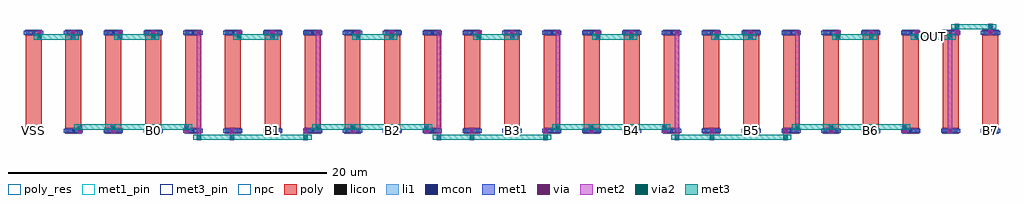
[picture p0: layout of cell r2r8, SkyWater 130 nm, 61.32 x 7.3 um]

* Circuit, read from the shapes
.subckt r2r8 B0 B1 B2 B3 B4 B5 B6 B7 OUT VSS
R1 n1 VSS sky130_fd_pr__res_generic_po w=1 l=6
R2 n1 n2 sky130_fd_pr__res_generic_po w=1 l=6
R3 n3 n2 sky130_fd_pr__res_generic_po w=1 l=6
R4 n3 B0 sky130_fd_pr__res_generic_po w=1 l=6
R5 n4 n2 sky130_fd_pr__res_generic_po w=1 l=6
R6 n5 n4 sky130_fd_pr__res_generic_po w=1 l=6
R7 n5 B1 sky130_fd_pr__res_generic_po w=1 l=6
R8 n6 n4 sky130_fd_pr__res_generic_po w=1 l=6
R9 n7 n6 sky130_fd_pr__res_generic_po w=1 l=6
R10 n7 B2 sky130_fd_pr__res_generic_po w=1 l=6
R11 n8 n6 sky130_fd_pr__res_generic_po w=1 l=6
R12 n9 n8 sky130_fd_pr__res_generic_po w=1 l=6
R13 n9 B3 sky130_fd_pr__res_generic_po w=1 l=6
R14 n10 n8 sky130_fd_pr__res_generic_po w=1 l=6
R15 n11 n10 sky130_fd_pr__res_generic_po w=1 l=6
R16 n11 B4 sky130_fd_pr__res_generic_po w=1 l=6
R17 n12 n10 sky130_fd_pr__res_generic_po w=1 l=6
R18 n13 n12 sky130_fd_pr__res_generic_po w=1 l=6
R19 n13 B5 sky130_fd_pr__res_generic_po w=1 l=6
R20 n14 n12 sky130_fd_pr__res_generic_po w=1 l=6
R21 n15 n14 sky130_fd_pr__res_generic_po w=1 l=6
R22 n15 B6 sky130_fd_pr__res_generic_po w=1 l=6
R23 OUT n14 sky130_fd_pr__res_generic_po w=1 l=6
R24 n16 OUT sky130_fd_pr__res_generic_po w=1 l=6
R25 n16 B7 sky130_fd_pr__res_generic_po w=1 l=6
.ends

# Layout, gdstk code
import gdstk
lib = gdstk.Library(unit=1e-6, precision=1e-09)
def R(c, l, rs):  # rectangles x0, y0, x1, y1
    for r in rs: c.add(gdstk.rectangle(r[:2], r[2:], *l))
def A(c, l, x, y, w, h, nx, ny, dx, dy):  # array of equal rectangles
    R(c, l, [(x+i*dx, y+j*dy, x+i*dx+w, y+j*dy+h) for i in range(nx) for j in range(ny)])
poly_res = (66, 13)
poly = (66, 20)
licon = (66, 44)
li1 = (67, 20)
mcon = (67, 44)
met1_pin = (68, 16)
met1 = (68, 20)
via = (68, 44)
met2 = (69, 20)
via2 = (69, 44)
met3_pin = (70, 16)
met3 = (70, 20)
npc = (95, 20)

r2r8 = lib.new_cell('r2r8')
A(r2r8, poly_res, 0, 3, 1, 6, 25, 1, 2.505, 0)
A(r2r8, poly, 0, 2.75, 1, 6.5, 25, 1, 2.505, 0)
A(r2r8, licon, 0.075, 2.83, 0.17, 0.17, 3, 2, 0.34, 6.17)
A(r2r8, licon, 2.58, 2.83, 0.17, 0.17, 3, 2, 0.34, 6.17)
A(r2r8, licon, 5.085, 2.83, 0.17, 0.17, 3, 2, 0.34, 6.17)
A(r2r8, licon, 7.59, 2.83, 0.17, 0.17, 3, 2, 0.34, 6.17)
A(r2r8, licon, 10.095, 2.83, 0.17, 0.17, 3, 2, 0.34, 6.17)
A(r2r8, licon, 12.6, 2.83, 0.17, 0.17, 3, 2, 0.34, 6.17)
A(r2r8, licon, 15.105, 2.83, 0.17, 0.17, 3, 2, 0.34, 6.17)
A(r2r8, licon, 17.61, 2.83, 0.17, 0.17, 3, 2, 0.34, 6.17)
A(r2r8, licon, 20.115, 2.83, 0.17, 0.17, 3, 2, 0.34, 6.17)
A(r2r8, licon, 22.62, 2.83, 0.17, 0.17, 3, 2, 0.34, 6.17)
A(r2r8, licon, 25.125, 2.83, 0.17, 0.17, 3, 2, 0.34, 6.17)
A(r2r8, licon, 27.63, 2.83, 0.17, 0.17, 3, 2, 0.34, 6.17)
A(r2r8, licon, 30.135, 2.83, 0.17, 0.17, 3, 2, 0.34, 6.17)
A(r2r8, licon, 32.64, 2.83, 0.17, 0.17, 3, 2, 0.34, 6.17)
A(r2r8, licon, 35.145, 2.83, 0.17, 0.17, 3, 2, 0.34, 6.17)
A(r2r8, licon, 37.65, 2.83, 0.17, 0.17, 3, 2, 0.34, 6.17)
A(r2r8, licon, 40.155, 2.83, 0.17, 0.17, 3, 2, 0.34, 6.17)
A(r2r8, licon, 42.66, 2.83, 0.17, 0.17, 3, 2, 0.34, 6.17)
A(r2r8, licon, 45.165, 2.83, 0.17, 0.17, 3, 2, 0.34, 6.17)
A(r2r8, licon, 47.67, 2.83, 0.17, 0.17, 3, 2, 0.34, 6.17)
A(r2r8, licon, 50.175, 2.83, 0.17, 0.17, 3, 2, 0.34, 6.17)
A(r2r8, licon, 52.68, 2.83, 0.17, 0.17, 3, 2, 0.34, 6.17)
A(r2r8, licon, 55.185, 2.83, 0.17, 0.17, 3, 2, 0.34, 6.17)
A(r2r8, licon, 57.69, 2.83, 0.17, 0.17, 3, 2, 0.34, 6.17)
A(r2r8, licon, 60.195, 2.83, 0.17, 0.17, 3, 2, 0.34, 6.17)
A(r2r8, li1, -0.005, 2.83, 1.01, 0.17, 25, 2, 2.505, 6.17)
A(r2r8, li1, 0.335, 2.83, 0.33, 0.17, 25, 2, 2.505, 6.17)
A(r2r8, mcon, 0.415, 2.83, 0.17, 0.17, 25, 2, 2.505, 6.17)
A(r2r8, met1_pin, -0.1, 2.785, 1.2, 0.26, 9, 1, 7.515, 0)
A(r2r8, met1, -0.1, 2.785, 1.2, 0.26, 4, 1, 2.505, 0)
A(r2r8, met1, 7.415, 2.785, 1.2, 0.26, 4, 1, 2.505, 0)
A(r2r8, met1, 14.93, 2.785, 1.2, 0.26, 4, 1, 2.505, 0)
A(r2r8, met1, 22.445, 2.785, 1.2, 0.26, 4, 1, 2.505, 0)
A(r2r8, met1, 29.96, 2.785, 1.2, 0.26, 4, 1, 2.505, 0)
A(r2r8, met1, 37.475, 2.785, 1.2, 0.26, 4, 1, 2.505, 0)
A(r2r8, met1, 44.99, 2.785, 1.2, 0.26, 4, 1, 2.505, 0)
A(r2r8, met1, 52.505, 2.785, 1.2, 0.26, 4, 1, 2.505, 0)
A(r2r8, met1, 0.315, 2.8, 0.37, 0.23, 25, 2, 2.505, 6.17)
A(r2r8, met1, -0.1, 8.955, 1.2, 0.26, 25, 1, 2.505, 0)
R(r2r8, met1, [(-0.1,2.785,1.1,3.045), (3.25,2.785,3.57,3.045), (5.34,2.785,5.66,3.045), (9.96,2.785,10.28,3.045), (12.82,2.785,13.14,3.045), (17.44,2.785,17.76,3.045), (20.41,2.785,20.73,3.045), (25.03,2.785,25.35,3.045), (27.89,2.785,28.21,3.045), (32.51,2.785,32.83,3.045), (35.37,2.785,35.69,3.045), (39.99,2.785,40.31,3.045), (42.96,2.785,43.28,3.045), (47.58,2.785,47.9,3.045), (50.44,2.785,50.76,3.045), (55.06,2.785,55.38,3.045), (57.92,2.785,58.24,3.045), (60.02,2.785,61.22,3.045), (0.72,8.955,1.04,9.215), (2.81,8.955,3.13,9.215), (5.78,8.955,6.1,9.215), (7.87,8.955,8.19,9.215), (10.73,8.955,11.05,9.215), (13.26,8.955,13.58,9.215), (15.35,8.955,15.67,9.215), (18.21,8.955,18.53,9.215), (20.74,8.955,21.06,9.215), (22.83,8.955,23.15,9.215), (25.8,8.955,26.12,9.215), (28.33,8.955,28.65,9.215), (30.42,8.955,30.74,9.215), (33.28,8.955,33.6,9.215), (35.81,8.955,36.13,9.215), (37.9,8.955,38.22,9.215), (40.76,8.955,41.08,9.215), (43.29,8.955,43.61,9.215), (45.38,8.955,45.7,9.215), (48.35,8.955,48.67,9.215), (50.88,8.955,51.2,9.215), (52.97,8.955,53.29,9.215), (55.83,8.955,56.15,9.215), (58.36,8.955,58.68,9.215), (60.45,8.955,60.77,9.215)])
R(r2r8, via, [(3.335,2.84,3.485,2.99), (5.425,2.84,5.575,2.99), (10.045,2.84,10.195,2.99), (12.905,2.84,13.055,2.99), (17.525,2.84,17.675,2.99), (20.495,2.84,20.645,2.99), (25.115,2.84,25.265,2.99), (27.975,2.84,28.125,2.99), (32.595,2.84,32.745,2.99), (35.455,2.84,35.605,2.99), (40.075,2.84,40.225,2.99), (43.045,2.84,43.195,2.99), (47.665,2.84,47.815,2.99), (50.525,2.84,50.675,2.99), (55.145,2.84,55.295,2.99), (58.005,2.84,58.155,2.99), (0.805,9.01,0.955,9.16), (2.895,9.01,3.045,9.16), (5.865,9.01,6.015,9.16), (7.955,9.01,8.105,9.16), (10.815,9.01,10.965,9.16), (13.345,9.01,13.495,9.16), (15.435,9.01,15.585,9.16), (18.295,9.01,18.445,9.16), (20.825,9.01,20.975,9.16), (22.915,9.01,23.065,9.16), (25.885,9.01,26.035,9.16), (28.415,9.01,28.565,9.16), (30.505,9.01,30.655,9.16), (33.365,9.01,33.515,9.16), (35.895,9.01,36.045,9.16), (37.985,9.01,38.135,9.16), (40.845,9.01,40.995,9.16), (43.375,9.01,43.525,9.16), (45.465,9.01,45.615,9.16), (48.435,9.01,48.585,9.16), (50.965,9.01,51.115,9.16), (53.055,9.01,53.205,9.16), (55.915,9.01,56.065,9.16), (58.445,9.01,58.595,9.16), (60.535,9.01,60.685,9.16)])
A(r2r8, met2, 18.23, 3.15, 0.28, 5.935, 3, 1, 15.07, 0)
R(r2r8, met2, [(10.75,2.335,11.03,2.705), (12.84,2.335,13.12,2.705), (17.46,2.335,17.74,2.705), (25.82,2.335,26.1,2.705), (27.91,2.335,28.19,2.705), (32.53,2.335,32.81,2.705), (40.78,2.335,41.06,2.705), (42.98,2.335,43.26,2.705), (47.6,2.335,47.88,2.705), (10.75,2.52,11.03,9.085), (12.84,2.52,13.12,2.915), (17.46,2.52,17.74,2.915), (25.82,2.52,26.1,9.085), (27.91,2.52,28.19,2.915), (32.53,2.52,32.81,2.915), (40.78,2.52,41.06,9.085), (42.98,2.52,43.26,2.915), (47.6,2.52,47.88,2.915), (3.28,2.755,3.54,3.075), (5.37,2.755,5.63,3.075), (9.99,2.755,10.25,3.075), (12.85,2.755,13.11,3.075), (17.47,2.755,17.73,3.075), (20.44,2.755,20.7,3.075), (25.06,2.755,25.32,3.075), (27.92,2.755,28.18,3.075), (32.54,2.755,32.8,3.075), (35.4,2.755,35.66,3.075), (40.02,2.755,40.28,3.075), (42.99,2.755,43.25,3.075), (47.61,2.755,47.87,3.075), (50.47,2.755,50.73,3.075), (55.09,2.755,55.35,3.075), (57.95,2.755,58.21,3.075), (3.27,2.915,3.55,3.15), (5.36,2.915,5.64,3.15), (9.98,2.915,10.26,3.15), (20.43,2.915,20.71,3.15), (25.05,2.915,25.33,3.15), (35.39,2.915,35.67,3.15), (40.01,2.915,40.29,3.15), (50.46,2.915,50.74,3.15), (55.08,2.915,55.36,3.15), (57.94,2.915,58.22,8.82), (3.27,2.965,3.55,3.335), (5.36,2.965,5.64,3.335), (9.98,2.965,10.26,3.335), (18.23,2.965,18.51,3.335), (20.43,2.965,20.71,3.335), (25.05,2.965,25.33,3.335), (33.3,2.965,33.58,3.335), (35.39,2.965,35.67,3.335), (40.01,2.965,40.29,3.335), (48.37,2.965,48.65,3.335), (50.46,2.965,50.74,3.335), (55.08,2.965,55.36,3.335), (0.74,8.635,1.02,9.005), (2.83,8.635,3.11,9.005), (5.8,8.635,6.08,9.005), (7.89,8.635,8.17,9.005), (13.28,8.635,13.56,9.005), (15.37,8.635,15.65,9.005), (20.76,8.635,21.04,9.005), (22.85,8.635,23.13,9.005), (28.35,8.635,28.63,9.005), (30.44,8.635,30.72,9.005), (35.83,8.635,36.11,9.005), (37.92,8.635,38.2,9.005), (43.31,8.635,43.59,9.005), (45.4,8.635,45.68,9.005), (50.9,8.635,51.18,9.005), (52.99,8.635,53.27,9.005), (55.85,8.635,56.13,9.005), (57.94,8.635,58.22,9.005), (0.74,8.82,1.02,9.085), (2.83,8.82,3.11,9.085), (5.8,8.82,6.08,9.085), (7.89,8.82,8.17,9.085), (13.28,8.82,13.56,9.085), (15.37,8.82,15.65,9.085), (20.76,8.82,21.04,9.085), (22.85,8.82,23.13,9.085), (28.35,8.82,28.63,9.085), (30.44,8.82,30.72,9.085), (35.83,8.82,36.11,9.085), (37.92,8.82,38.2,9.085), (43.31,8.82,43.59,9.085), (45.4,8.82,45.68,9.085), (50.9,8.82,51.18,9.085), (52.99,8.82,53.27,9.085), (55.85,8.82,56.13,9.085), (0.75,8.925,1.01,9.245), (2.84,8.925,3.1,9.245), (5.81,8.925,6.07,9.245), (7.9,8.925,8.16,9.245), (10.76,8.925,11.02,9.245), (13.29,8.925,13.55,9.245), (15.38,8.925,15.64,9.245), (18.24,8.925,18.5,9.245), (20.77,8.925,21.03,9.245), (22.86,8.925,23.12,9.245), (25.83,8.925,26.09,9.245), (28.36,8.925,28.62,9.245), (30.45,8.925,30.71,9.245), (33.31,8.925,33.57,9.245), (35.84,8.925,36.1,9.245), (37.93,8.925,38.19,9.245), (40.79,8.925,41.05,9.245), (43.32,8.925,43.58,9.245), (45.41,8.925,45.67,9.245), (48.38,8.925,48.64,9.245), (50.91,8.925,51.17,9.245), (53,8.925,53.26,9.245), (55.86,8.925,56.12,9.245), (58.39,8.925,58.65,9.245), (60.48,8.925,60.74,9.245), (58.38,9.085,58.66,9.45), (60.47,9.085,60.75,9.45), (58.38,9.265,58.66,9.635), (60.47,9.265,60.75,9.635)])
R(r2r8, via2, [(10.79,2.42,10.99,2.62), (12.88,2.42,13.08,2.62), (17.5,2.42,17.7,2.62), (25.86,2.42,26.06,2.62), (27.95,2.42,28.15,2.62), (32.57,2.42,32.77,2.62), (40.82,2.42,41.02,2.62), (43.02,2.42,43.22,2.62), (47.64,2.42,47.84,2.62), (3.31,3.05,3.51,3.25), (5.4,3.05,5.6,3.25), (10.02,3.05,10.22,3.25), (18.27,3.05,18.47,3.25), (20.47,3.05,20.67,3.25), (25.09,3.05,25.29,3.25), (33.34,3.05,33.54,3.25), (35.43,3.05,35.63,3.25), (40.05,3.05,40.25,3.25), (48.41,3.05,48.61,3.25), (50.5,3.05,50.7,3.25), (55.12,3.05,55.32,3.25), (0.78,8.72,0.98,8.92), (2.87,8.72,3.07,8.92), (5.84,8.72,6.04,8.92), (7.93,8.72,8.13,8.92), (13.32,8.72,13.52,8.92), (15.41,8.72,15.61,8.92), (20.8,8.72,21,8.92), (22.89,8.72,23.09,8.92), (28.39,8.72,28.59,8.92), (30.48,8.72,30.68,8.92), (35.87,8.72,36.07,8.92), (37.96,8.72,38.16,8.92), (43.35,8.72,43.55,8.92), (45.44,8.72,45.64,8.92), (50.94,8.72,51.14,8.92), (53.03,8.72,53.23,8.92), (55.89,8.72,56.09,8.92), (57.98,8.72,58.18,8.92), (58.42,9.35,58.62,9.55), (60.51,9.35,60.71,9.55)])
R(r2r8, met3_pin, [(55.99,8.655,58.08,8.985)])
A(r2r8, met3, 5.94, 8.655, 2.09, 0.33, 3, 1, 7.48, 0)
A(r2r8, met3, 28.49, 8.655, 2.09, 0.33, 3, 1, 7.48, 0)
R(r2r8, met3, [(10.525,2.355,11.255,2.685), (10.89,2.355,17.6,2.685), (12.615,2.355,13.345,2.685), (17.235,2.355,17.965,2.685), (25.595,2.355,26.325,2.685), (25.96,2.355,32.67,2.685), (27.685,2.355,28.415,2.685), (32.305,2.355,33.035,2.685), (40.555,2.355,41.285,2.685), (40.92,2.355,47.74,2.685), (42.755,2.355,43.485,2.685), (47.375,2.355,48.105,2.685), (3.045,2.985,3.775,3.315), (3.41,2.985,10.12,3.315), (5.135,2.985,5.865,3.315), (9.755,2.985,10.485,3.315), (18.005,2.985,18.735,3.315), (18.37,2.985,25.19,3.315), (20.205,2.985,20.935,3.315), (24.825,2.985,25.555,3.315), (33.075,2.985,33.805,3.315), (33.44,2.985,40.15,3.315), (35.165,2.985,35.895,3.315), (39.785,2.985,40.515,3.315), (48.145,2.985,48.875,3.315), (48.51,2.985,55.22,3.315), (50.235,2.985,50.965,3.315), (54.855,2.985,55.585,3.315), (0.515,8.655,1.245,8.985), (0.88,8.655,2.97,8.985), (2.605,8.655,3.335,8.985), (5.575,8.655,6.305,8.985), (7.665,8.655,8.395,8.985), (13.055,8.655,13.785,8.985), (15.145,8.655,15.875,8.985), (20.535,8.655,21.265,8.985), (22.625,8.655,23.355,8.985), (28.125,8.655,28.855,8.985), (30.215,8.655,30.945,8.985), (35.605,8.655,36.335,8.985), (37.695,8.655,38.425,8.985), (43.085,8.655,43.815,8.985), (45.175,8.655,45.905,8.985), (50.675,8.655,51.405,8.985), (51.04,8.655,53.13,8.985), (52.765,8.655,53.495,8.985), (55.625,8.655,56.355,8.985), (55.99,8.655,58.08,8.985), (57.715,8.655,58.445,8.985), (58.155,9.285,58.885,9.615), (58.52,9.285,60.61,9.615), (60.245,9.285,60.975,9.615)])
A(r2r8, npc, -0.025, 2.73, 1.05, 0.37, 25, 2, 2.505, 6.17)
r2r8.add(gdstk.Label('B0', (8.015,2.915), layer=68, texttype=16))
r2r8.add(gdstk.Label('B1', (15.53,2.915), layer=68, texttype=16))
r2r8.add(gdstk.Label('B2', (23.045,2.915), layer=68, texttype=16))
r2r8.add(gdstk.Label('B3', (30.56,2.915), layer=68, texttype=16))
r2r8.add(gdstk.Label('B4', (38.075,2.915), layer=68, texttype=16))
r2r8.add(gdstk.Label('B5', (45.59,2.915), layer=68, texttype=16))
r2r8.add(gdstk.Label('B6', (53.105,2.915), layer=68, texttype=16))
r2r8.add(gdstk.Label('B7', (60.62,2.915), layer=68, texttype=16))
r2r8.add(gdstk.Label('VSS', (0.5,2.915), layer=68, texttype=16))
r2r8.add(gdstk.Label('B0', (8.015,2.915), layer=68, texttype=5))
r2r8.add(gdstk.Label('B1', (15.53,2.915), layer=68, texttype=5))
r2r8.add(gdstk.Label('B2', (23.045,2.915), layer=68, texttype=5))
r2r8.add(gdstk.Label('B3', (30.56,2.915), layer=68, texttype=5))
r2r8.add(gdstk.Label('B4', (38.075,2.915), layer=68, texttype=5))
r2r8.add(gdstk.Label('B5', (45.59,2.915), layer=68, texttype=5))
r2r8.add(gdstk.Label('B6', (53.105,2.915), layer=68, texttype=5))
r2r8.add(gdstk.Label('B7', (60.62,2.915), layer=68, texttype=5))
r2r8.add(gdstk.Label('VSS', (0.5,2.915), layer=68, texttype=5))
r2r8.add(gdstk.Label('OUT', (57.035,8.82), layer=70, texttype=16))
r2r8.add(gdstk.Label('OUT', (57.035,8.82), layer=70, texttype=5))

lib.write_gds('r2r8.gds')
